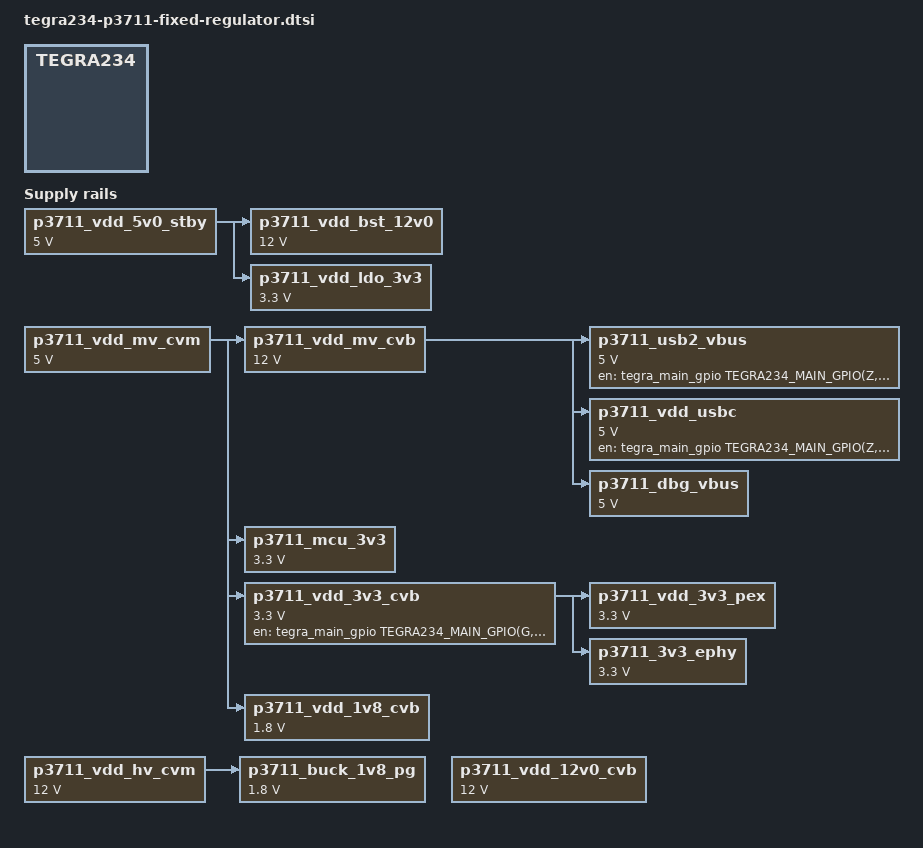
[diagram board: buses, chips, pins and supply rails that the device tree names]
/*
 * Copyright (c) 2021, NVIDIA CORPORATION.  All rights reserved.
 *
 * This program is free software; you can redistribute it and/or modify
 * it under the terms of the GNU General Public License as published by
 * the Free Software Foundation; either version 2 of the License, or
 * (at your option) any later version.
 *
 * This program is distributed in the hope that it will be useful, but WITHOUT
 * ANY WARRANTY; without even the implied warranty of MERCHANTABILITY or
 * FITNESS FOR A PARTICULAR PURPOSE.  See the GNU General Public License for
 * more details.
 */

/ {
	fixed-regulators {
		p3711_vdd_5v0_stby: battery_reg: regulator@101 {
			compatible = "regulator-fixed";
			reg = <101>;
			regulator-name = "vdd-5v0-stby";
			regulator-min-microvolt = <5000000>;
			regulator-max-microvolt = <5000000>;
		};

		p3711_vdd_mv_cvm: regulator@102 {
			compatible = "regulator-fixed";
			reg = <102>;
			regulator-name = "vdd-mv-cvm";
			regulator-min-microvolt = <5000000>;
			regulator-max-microvolt = <5000000>;
		};

		p3711_vdd_hv_cvm: regulator@103 {
			compatible = "regulator-fixed";
			reg = <103>;
			regulator-name = "vdd-hv-cvm";
			regulator-min-microvolt = <12000000>;
			regulator-max-microvolt = <12000000>;
		};

		p3711_vdd_mv_cvb: regulator@104 {
			compatible = "regulator-fixed";
			reg = <104>;
			regulator-name = "vdd-mv-cvb";
			regulator-min-microvolt = <12000000>;
			regulator-max-microvolt = <12000000>;
			vin-supply = <&p3711_vdd_mv_cvm>;
		};

		p3711_vdd_12v0_cvb: regulator@105 {
			compatible = "regulator-fixed";
			reg = <105>;
			regulator-name = "vdd-12v0-cvb";
			regulator-min-microvolt = <12000000>;
			regulator-max-microvolt = <12000000>;
		};

		p3711_vdd_bst_12v0: regulator@106 {
			compatible = "regulator-fixed";
			reg = <106>;
			regulator-name = "vdd-bst-12v0";
			regulator-min-microvolt = <12000000>;
			regulator-max-microvolt = <12000000>;
			vin-supply = <&p3711_vdd_5v0_stby>;
		};

		p3711_vdd_ldo_3v3: regulator@107 {
			compatible = "regulator-fixed";
			reg = <107>;
			regulator-name = "vdd-ldo-3v3";
			regulator-min-microvolt = <3300000>;
			regulator-max-microvolt = <3300000>;
			vin-supply = <&p3711_vdd_5v0_stby>;
		};

		p3711_mcu_3v3: regulator@108 {
			compatible = "regulator-fixed";
			reg = <108>;
			regulator-name = "vdd-mcu-3v3";
			regulator-min-microvolt = <3300000>;
			regulator-max-microvolt = <3300000>;
			vin-supply = <&p3711_vdd_mv_cvm>;
		};

		p3711_vdd_3v3_cvb: p3737_vdd_3v3_sd: p3737_vdd_3v3_sys: regulator@109 {
			compatible = "regulator-fixed";
			reg = <109>;
			regulator-name = "vdd-3v3-cvb";
			regulator-min-microvolt = <3300000>;
			regulator-max-microvolt = <3300000>;
			vin-supply = <&p3711_vdd_mv_cvm>;
			/* DP GMSL power down GPIO */
			gpio = <&tegra_main_gpio TEGRA234_MAIN_GPIO(G, 3) GPIO_ACTIVE_HIGH>;
			enable-active-high;
		};

		p3711_vdd_1v8_cvb: regulator@110 {
			compatible = "regulator-fixed";
			reg = <110>;
			regulator-name = "vdd-1v8-cvb";
			regulator-min-microvolt = <1800000>;
			regulator-max-microvolt = <1800000>;
			vin-supply = <&p3711_vdd_mv_cvm>;
		};

		p3711_vdd_3v3_pex: regulator@111 {
			compatible = "regulator-fixed";
			reg = <111>;
			regulator-name = "vdd-3v3-pex";
			regulator-min-microvolt = <3300000>;
			regulator-max-microvolt = <3300000>;
			vin-supply = <&p3711_vdd_3v3_cvb>;
		};

		p3711_usb2_vbus: regulator@112 {
			compatible = "regulator-fixed";
			reg = <112>;
			regulator-name = "vdd-usb2-vbus";
			regulator-min-microvolt = <5000000>;
			regulator-max-microvolt = <5000000>;
			gpio = <&tegra_main_gpio TEGRA234_MAIN_GPIO(Z, 1) 0>;
			enable-active-high;
			vin-supply = <&p3711_vdd_mv_cvb>;
		};

		p3711_vdd_usbc: regulator@113 {
			compatible = "regulator-fixed";
			reg = <113>;
			regulator-name = "vdd-usbc";
			regulator-min-microvolt = <5000000>;
			regulator-max-microvolt = <5000000>;
			gpio = <&tegra_main_gpio TEGRA234_MAIN_GPIO(Z, 2) 0>;
			enable-active-high;
			vin-supply = <&p3711_vdd_mv_cvb>;
		};

		p3711_dbg_vbus: regulator@114 {
			compatible = "regulator-fixed";
			reg = <114>;
			regulator-name = "vdd-dbg_vbus";
			regulator-min-microvolt = <5000000>;
			regulator-max-microvolt = <5000000>;
			vin-supply = <&p3711_vdd_mv_cvb>;
		};

		p3711_3v3_ephy: regulator@115 {
			compatible = "regulator-fixed";
			reg = <115>;
			regulator-name = "vdd-3v3-ephy";
			regulator-min-microvolt = <3300000>;
			regulator-max-microvolt = <3300000>;
			vin-supply = <&p3711_vdd_3v3_cvb>;
		};

		p3711_buck_1v8_pg: regulator@116 {
			compatible = "regulator-fixed";
			reg = <116>;
			regulator-name = "vdd-buck-1v8-pg";
			regulator-min-microvolt = <1800000>;
			regulator-max-microvolt = <1800000>;
			vin-supply = <&p3711_vdd_hv_cvm>;
		};
	};
};
